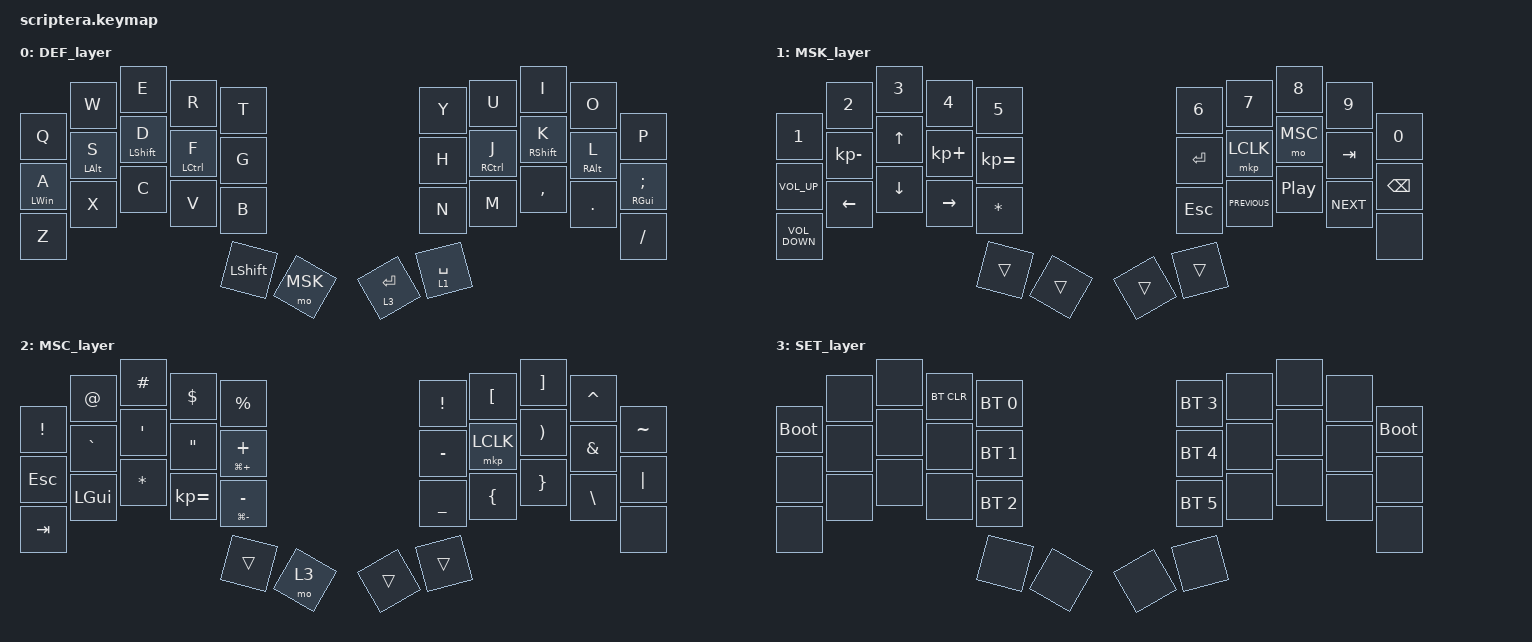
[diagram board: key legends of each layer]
#include <behaviors.dtsi>
#include <dt-bindings/zmk/bt.h>
#include <dt-bindings/zmk/keys.h>
/* include &mkp  */
#include <behaviors/mouse_keys.dtsi>
#include <dt-bindings/zmk/mouse.h>

&nice_view_spi { cs-gpios = <&gpio0 7 GPIO_ACTIVE_HIGH>; };

&mt {
    flavor = "tap-preferred";
    tapping_term_ms = <210>;
    quick_tap_ms = <0>;
    retro-tap;
};

// index of keymap layers
#define DEF 0 // default layer
#define MSK 1 // mouse key layer
#define MSC 2 // mouse scoll layer
#define SET 3 // settings layer

/ {
    /* input config for mouse move mode on default layer (DEF & MSK) */
    tb0_mmv_ibl {
            compatible = "zmk,input-behavior-listener";
            device = <&vtball0>;
            layers = <DEF MSK>;
            evt-type = <INPUT_EV_REL>;
            x-input-code = <INPUT_REL_X>;
            y-input-code = <INPUT_REL_Y>;
            scale-multiplier = <1>;
            scale-divisor = <1>;
            //bindings = <&ib_tog_layer MSK>;
            //rotate-deg = <315>;
    };

    /* input config for mouse scroll mode on momentary mouse scoll layer (MSC) */
    tb0_msl_ibl {
            compatible = "zmk,input-behavior-listener";
            device = <&vtball0>;
            layers = <MSC>;
            evt-type = <INPUT_EV_REL>;
            x-input-code = <INPUT_REL_MISC>;
            y-input-code = <INPUT_REL_WHEEL>;
            y-invert;
            //rotate-deg = <315>;
            bindings = <&ib_wheel_scaler 1 8>;
    };

    /* adjust cooldown waiting period for mouse key layer (MSK) after activated */
    ib_tog_layer: ib_tog_layer {
            compatible = "zmk,input-behavior-tog-layer";
            #binding-cells = <1>;
            time-to-live-ms = <1000>;
    };

    /* define a resolution down scaler only for INPUT_REL_WHEEL */
    ib_wheel_scaler: ib_wheel_scaler {
            compatible = "zmk,input-behavior-scaler";
            #binding-cells = <2>;
            evt-type = <INPUT_EV_REL>;
            input-code = <INPUT_REL_WHEEL>;
    };

// -----------------

    keymap {
        compatible = "zmk,keymap";

        // Base alpha layer

        DEF_layer {
            bindings = <
&kp Q           &kp W           &kp E             &kp R               &kp T    &kp Y  &kp U                &kp I              &kp O            &kp P
&mt LEFT_WIN A  &mt LEFT_ALT S  &mt LEFT_SHIFT D  &mt LEFT_CONTROL F  &kp G    &kp H  &mt RIGHT_CONTROL J  &mt RIGHT_SHIFT K  &mt RIGHT_ALT L  &mt RIGHT_GUI SEMICOLON
&kp Z           &kp X           &kp C             &kp V               &kp B    &kp N  &kp M                &kp COMMA          &kp DOT          &kp SLASH
&kp LEFT_SHIFT  &mo MSK                                                                                                     &lt 3 ENTER      &lt 1 SPACE
            >;
        };

        // Numbers and arrow key navigation

        MSK_layer {
            bindings = <
&kp N1             &kp N2        &kp N3    &kp N4       &kp N5          &kp N6      &kp N7          &kp N8            &kp N9      &kp N0
&kp C_VOLUME_UP    &kp KP_MINUS  &kp UP    &kp KP_PLUS  &kp KP_EQUAL    &kp ENTER   &mkp LCLK       &mo MSC           &kp TAB     &kp BACKSPACE
&kp C_VOLUME_DOWN  &kp LEFT      &kp DOWN  &kp RIGHT    &kp ASTRK       &kp ESCAPE  &kp C_PREVIOUS  &kp C_PLAY_PAUSE  &kp C_NEXT  &none
&trans             &trans                                                                                             &trans      &trans
            >;
        };

        // Symbols organized by use

        MSC_layer {
            bindings = <
&kp EXCLAMATION  &kp AT        &kp HASH        &kp DOLLAR         &kp PERCENT            &kp EXCL        &kp LEFT_BRACKET      &kp RIGHT_BRACKET      &kp CARET      &kp TILDE
&kp ESCAPE       &kp GRAVE     &kp APOSTROPHE  &kp DOUBLE_QUOTES  &mt LG(PLUS) PLUS      &kp MINUS       &mkp LCLK             &kp RIGHT_PARENTHESIS  &kp AMPERSAND  &kp PIPE
&kp TAB          &kp LEFT_GUI  &kp ASTERISK    &kp KP_EQUAL       &mt LG(MINUS) MINUS    &kp UNDERSCORE  &kp LEFT_BRACE        &kp RIGHT_BRACE        &kp BACKSLASH  &none
&trans           &mo 3                                                                                                                                &trans         &trans
            >;
        };

        // Used to change the keyboard's settings

        SET_layer {
            bindings = <
&bootloader  &none  &none  &bt BT_CLR  &bt BT_SEL 0    &bt BT_SEL 3  &none  &none  &none  &bootloader
&none        &none  &none  &none       &bt BT_SEL 1    &bt BT_SEL 4  &none  &none  &none  &none
&none        &none  &none  &none       &bt BT_SEL 2    &bt BT_SEL 5  &none  &none  &none  &none
&none        &none                                                                 &none  &none
            >;
        };
    };
};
